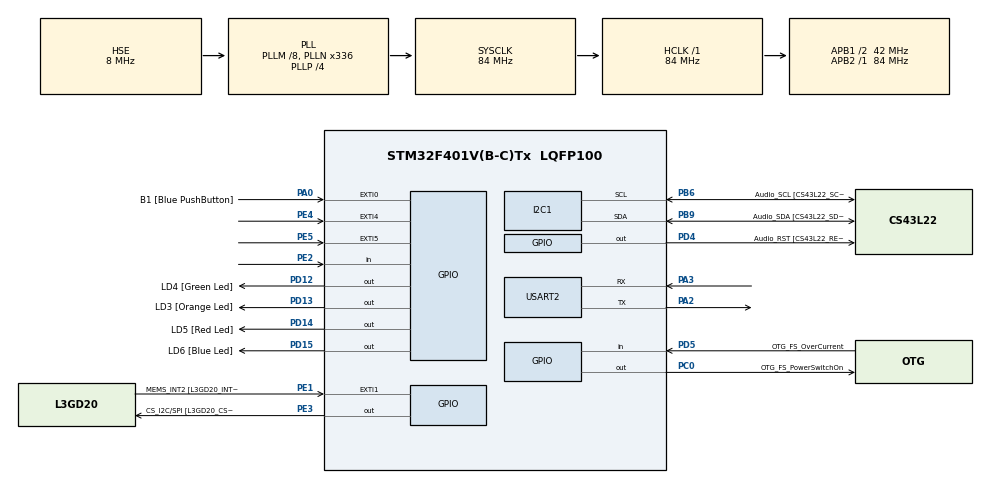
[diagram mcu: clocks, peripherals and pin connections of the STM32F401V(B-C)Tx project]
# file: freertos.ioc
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FREERTOS.Tasks01=defaultTask,24,128,StartDefaultTask,Default,NULL,Dynamic,NULL,NULL
FREERTOS.configUSE_NEWLIB_REENTRANT=1
Mcu.Family=STM32F4
Mcu.Name=STM32F401V(B-C)Tx
Mcu.Package=LQFP100
NVIC.EXTI0_IRQn=true\:5\:0\:false\:false\:true\:true\:true\:true\:true
NVIC.PriorityGroup=NVIC_PRIORITYGROUP_4
NVIC.TIM3_IRQn=true\:0\:0\:false\:false\:true\:false\:false\:true\:true
NVIC.TimeBase=TIM3_IRQn
NVIC.TimeBaseIP=TIM3
NVIC.USART2_IRQn=true\:5\:0\:false\:false\:true\:true\:true\:true\:true
PA0-WKUP.GPIO_Label=B1 [Blue PushButton]
PA0-WKUP.GPIO_ModeDefaultEXTI=GPIO_MODE_IT_RISING_FALLING
PA0-WKUP.Signal=GPXTI0
PA10.GPIO_Label=OTG_FS_ID
PA10.Signal=USB_OTG_FS_ID
PA11.GPIO_Label=OTG_FS_DM
PA11.Signal=USB_OTG_FS_DM
PA12.GPIO_Label=OTG_FS_DP
PA12.Signal=USB_OTG_FS_DP
PA13.GPIO_Label=SWDIO
PA13.Mode=Serial_Wire
PA13.Signal=SYS_JTMS-SWDIO
PA14.GPIO_Label=SWCLK
PA14.Mode=Serial_Wire
PA14.Signal=SYS_JTCK-SWCLK
PA2.Mode=Asynchronous
PA2.Signal=USART2_TX
PA3.Mode=Asynchronous
PA3.Signal=USART2_RX
PA4.GPIO_Label=I2S3_WS [CS43L22_LRCK]
PA4.GPIO_Mode=GPIO_MODE_AF_PP
PA4.GPIO_PuPd=GPIO_NOPULL
PA4.GPIO_Speed=GPIO_SPEED_FREQ_LOW
PA4.Signal=I2S3_WS
PA5.GPIO_Label=SPI1_SCK [L3GD20_SC/SPC]
PA5.Signal=SPI1_SCK
PA6.GPIO_Label=SPI1_MISO [L3GD20_AS0/SDO]
PA6.Signal=SPI1_MISO
PA7.GPIO_Label=SPI1_MISO [L3GD20_SDA/SDI/SDO]
PA7.Signal=SPI1_MOSI
PA9.GPIO_Label=VBUS_FS
PA9.Signal=USB_OTG_FS_VBUS
PB10.GPIO_Label=CLK_IN [MP45DT02_CLK]
PB10.Signal=I2S2_CK
PB12.Signal=I2S2_WS
PB3.GPIO_Label=SWO
PB3.Signal=SYS_JTDO-SWO
PB6.GPIO_Label=Audio_SCL [CS43L22_SCL]
PB6.GPIO_Mode=GPIO_MODE_AF_OD
PB6.GPIO_Pu=GPIO_PULLUP
PB6.GPIO_PuPd=GPIO_NOPULL
PB6.GPIO_Speed=GPIO_SPEED_FREQ_LOW
PB6.Mode=I2C
PB6.Signal=I2C1_SCL
PB9.GPIO_Label=Audio_SDA [CS43L22_SDA]
PB9.GPIO_Mode=GPIO_MODE_AF_OD
PB9.GPIO_Pu=GPIO_PULLUP
PB9.GPIO_PuPd=GPIO_NOPULL
PB9.GPIO_Speed=GPIO_SPEED_FREQ_LOW
PB9.Mode=I2C
PB9.Signal=I2C1_SDA
PC0.GPIO_Label=OTG_FS_PowerSwitchOn
PC0.PinState=GPIO_PIN_SET
PC0.Signal=GPIO_Output
PC10.GPIO_Label=I2S3_SCK [CS43L22_SCLK]
PC10.GPIO_Mode=GPIO_MODE_AF_PP
PC10.GPIO_PuPd=GPIO_NOPULL
PC10.GPIO_Speed=GPIO_SPEED_FREQ_LOW
PC10.Signal=I2S3_CK
PC12.GPIO_Label=I2S3_SD [CS43L22_SDIN]
PC12.GPIO_Mode=GPIO_MODE_AF_PP
PC12.GPIO_PuPd=GPIO_NOPULL
PC12.GPIO_Speed=GPIO_SPEED_FREQ_LOW
PC12.Signal=I2S3_SD
PC14-OSC32_IN.GPIO_Label=PC14-OSC32_IN
PC14-OSC32_IN.Mode=LSE-External-Oscillator
PC14-OSC32_IN.Signal=RCC_OSC32_IN
PC15-OSC32_OUT.GPIO_Label=PC15-OSC32_OUT
PC15-OSC32_OUT.Mode=LSE-External-Oscillator
PC15-OSC32_OUT.Signal=RCC_OSC32_OUT
PC3.GPIO_Label=PDM_OUT [MP45DT02_DOUT]
PC3.Signal=I2S2_SD
PC7.GPIO_Label=I2S3_MCK [CS43L22_MCLK]
PC7.GPIO_Mode=GPIO_MODE_AF_PP
PC7.GPIO_PuPd=GPIO_NOPULL
PC7.GPIO_Speed=GPIO_SPEED_FREQ_LOW
PC7.Signal=I2S3_MCK
PD12.GPIO_Label=LD4 [Green Led]
PD12.GPIO_PuPd=GPIO_NOPULL
PD12.GPIO_Speed=GPIO_SPEED_FREQ_LOW
PD12.Signal=GPIO_Output
PD13.GPIO_Label=LD3 [Orange Led]
PD13.GPIO_PuPd=GPIO_NOPULL
PD13.GPIO_Speed=GPIO_SPEED_FREQ_LOW
PD13.Signal=GPIO_Output
PD14.GPIO_Label=LD5 [Red Led]
PD14.GPIO_PuPd=GPIO_NOPULL
PD14.GPIO_Speed=GPIO_SPEED_FREQ_LOW
PD14.Signal=GPIO_Output
PD15.GPIO_Label=LD6 [Blue Led]
PD15.GPIO_PuPd=GPIO_NOPULL
PD15.GPIO_Speed=GPIO_SPEED_FREQ_LOW
PD15.Signal=GPIO_Output
PD4.GPIO_Label=Audio_RST [CS43L22_RESET]
PD4.Signal=GPIO_Output
PD5.GPIO_Label=OTG_FS_OverCurrent
PD5.Signal=GPIO_Input
PE1.GPIO_Label=MEMS_INT2 [L3GD20_INT2]
PE1.GPIO_ModeDefaultEXTI=GPIO_MODE_EVT_RISING
PE1.Signal=GPXTI1
PE2.Signal=GPIO_Input
PE3.GPIO_Label=CS_I2C/SPI [L3GD20_CS_I2C/SPI]
PE3.Signal=GPIO_Output
PE4.GPIO_ModeDefaultEXTI=GPIO_MODE_EVT_RISING
PE4.Signal=GPXTI4
PE5.GPIO_ModeDefaultEXTI=GPIO_MODE_EVT_RISING
PE5.Signal=GPXTI5
PH0\ -\ OSC_IN.GPIO_Label=PH0-OSC_IN
PH0\ -\ OSC_IN.Mode=HSE-External-Oscillator
PH0\ -\ OSC_IN.Signal=RCC_OSC_IN
PH1\ -\ OSC_OUT.GPIO_Label=PH1-OSC_OUT
PH1\ -\ OSC_OUT.Mode=HSE-External-Oscillator
PH1\ -\ OSC_OUT.Signal=RCC_OSC_OUT
ProjectManager.HeapSize=0x200
ProjectManager.StackSize=0x400
ProjectManager.TargetToolchain=STM32CubeIDE
RCC.AHBFreq_Value=84000000
RCC.APB1CLKDivider=RCC_HCLK_DIV2
RCC.APB1Freq_Value=42000000
RCC.APB1TimFreq_Value=84000000
RCC.APB2Freq_Value=84000000
RCC.APB2TimFreq_Value=84000000
RCC.CortexFreq_Value=84000000
RCC.HCLKFreq_Value=84000000
RCC.HSE_VALUE=8000000
RCC.HSI_VALUE=16000000
RCC.PLLM=8
RCC.PLLN=336
RCC.PLLP=RCC_PLLP_DIV4
RCC.PLLQ=7
RCC.PLLSourceVirtual=RCC_PLLSOURCE_HSE
RCC.SYSCLKFreq_VALUE=84000000
RCC.SYSCLKSource=RCC_SYSCLKSOURCE_PLLCLK
RCC.VCOOutputFreq_Value=336000000
STMicroelectronics.FP-SNS-STAIOTCFT.1.0.0.MathOoLibCcCMSISJjDSPJjInclude=true
STMicroelectronics.FP-SNS-STAIOTCFT.1.0.0.MathOoLibCcCMSISJjDSPJjLib=true
USART2.VirtualMode=VM_ASYNC
VP_FREERTOS_VS_CMSIS_V2.Mode=CMSIS_V2
VP_STMicroelectronics.FP-SNS-STAIOTCFT_VS_CMSISJjMathOoLib_1.0.0_1.0.0.Mode=CMSISJjMathOoLib
VP_SYS_VS_tim3.Mode=TIM3
board=STM32F401C-DISCO

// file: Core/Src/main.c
/* USER CODE BEGIN Header */
/**
  ******************************************************************************
  * @file           : main.c
  * @brief          : Main program body (minimal, cleaned)
  ******************************************************************************
  * @attention
  * Copyright (c) 2025 STMicroelectronics.
  * All rights reserved.
  * This software is licensed AS-IS.
  ******************************************************************************
  */
/* USER CODE END Header */
#include "main.h"
#include "cmsis_os.h"

/* USER CODE BEGIN Includes */
#include <stdio.h>
#include <string.h>
#include <stdbool.h>
#include <math.h>
#include "lsm303dlhc_acc.h"
#include "cmsis_os2.h"
#include "arm_math.h"   // CMSIS-DSP
#include <stdlib.h>     // atoi, strtof
#ifndef M_PI
#define M_PI 3.14159265358979323846f
#endif

/* USER CODE END Includes */

/* USER CODE BEGIN PTD */
typedef enum { STATE_IDLE = 0, STATE_ACTIVE = 1 } run_state_t;

typedef enum { BTN_EV_DOWN = 0, BTN_EV_UP = 1 } btn_ev_t;
typedef struct { btn_ev_t ev; uint32_t t_ms; } btn_msg_t;

typedef struct {
  char topic[64];
  char payload[256];
} pub_req_t;
/* USER CODE END PTD */

/* USER CODE BEGIN PD */
// --- Behavior when STATE == IDLE ---
#define COUNT_STEPS_WHEN_IDLE   0   // don't count steps in IDLE
#define ACCUMULATE_WHEN_IDLE    0   // don't add distance/kcal in IDLE

#define MIN_PEAK_ABS  0.10f   // ~0.10 g band-passed abs minimum

// Button timings (ms)
#define BTN_DEBOUNCE_MS      150u
#define BTN_LONG_MS         2000u
#define SNAPSHOT_MIN_SPAN    200u

// Step detector tuning (50 Hz)
#define ACC_ALPHA           0.90f
#define TH_HIGH_G           0.35f
#define TH_LOW_G            0.15f

// Defaults (can be switched later to remote-config values)
#define STRIDE_LENGTH_M     0.75f
#define KCAL_PER_STEP       0.05f

/* USER CODE END PD */

I2C_HandleTypeDef hi2c1;

UART_HandleTypeDef huart2;

/* USER CODE BEGIN PV */
// RTOS objects
static osMessageQueueId_t qPub;
static osMessageQueueId_t qBtn;
static osSemaphoreId_t    semUart;  // UART TX lock

// App state
static volatile run_state_t g_state = STATE_IDLE;

static volatile uint32_t step_count = 0;
static volatile float    distance_m = 0.0f;
static volatile float    cal_kcal   = 0.0f;

// Button helpers
static volatile uint32_t g_btn_last_edge = 0;
static volatile uint8_t  g_btn_down_seen = 0;

// Step detector internals
static float    g_est = 1.0f;
static uint32_t last_step_ms = 0;

// ---- user-configurable params (defaults) ----
static volatile uint16_t g_height_cm = 170;    // default
static volatile uint16_t g_mass_kg   = 70;     // default
static volatile float    g_stride_m  = 0.75f;  // will be overridden/derived
static volatile uint8_t  g_stride_user_set = 0; // 0=derive from height

static volatile float    g_kcal_per_step = 0.05f;

// UART RX line collector (for CFG key=value coming from ESP32)
static uint8_t  rx_ch;
static char     rx_line[128];
static size_t   rx_len = 0;

// ===== DSP config (50 Hz sampling) =====
#define FS_HZ          50.0f
#define DT_SEC         (1.0f/FS_HZ)

// 0.5–3.0 Hz band using HPF(0.5Hz, Q=0.707) then LPF(3.0Hz, Q=0.707)
#define HPF_FC_HZ      0.50f
#define HPF_Q          0.707f
#define LPF_FC_HZ      3.00f
#define LPF_Q          0.707f

// Envelope and thresholds
#define ENV_ALPHA      0.98f
#define K_TH_HI        1.50f     // was 1.20f
#define K_TH_LO        0.55f      // was 0.50f
#define REFRACT_MS     420u      // was 300u

// Cadence/speed smoothing
#define CAD_EWMA       0.20f
#define SPD_EWMA       0.10f

// Envelope & kinematics
static float     env_abs = 0.05f;
static uint8_t   bp_armed = 0;
static uint32_t  last_step_ms_dsp = 0;

static volatile float cadence_spm = 0.0f;  // smoothed cadence (steps/min)
static volatile float speed_mps   = 0.0f;  // smoothed speed (m/s)
// Peak detection helpers (to avoid multiple counts per step)
static float   prev_y_bp  = 0.0f;
static uint8_t was_rising = 0;

// --- Simple filter state (bypassing CMSIS biquads for debug/robustness) ---
//static float mag_base = 1.0f;   // EMA baseline of |acc| ~ gravity
//static float y_lp     = 0.0f;   // one-pole LPF output

// Pre-tuned EMA gains for fs=50 Hz
#define HPF_ALPHA   0.061f   // ~0.5 Hz baseline tracker
#define LPF_ALPHA   0.314f   // ~3.0 Hz smoothing

// --- CMSIS-DSP filter state ---
static arm_biquad_casd_df1_inst_f32 iir_hpf;
static arm_biquad_casd_df1_inst_f32 iir_lpf;

// One stage each (2nd-order); CMSIS needs 5 coeffs/stage and 4 state values/stage
static float32_t hpf_coeffs[5];
static float32_t lpf_coeffs[5];
static float32_t hpf_state[4];
static float32_t lpf_state[4];

/* USER CODE END PV */

void SystemClock_Config(void);
static void MX_GPIO_Init(void);
static void MX_I2C1_Init(void);
static void MX_USART2_UART_Init(void);
void StartDefaultTask(void *argument);

/* USER CODE BEGIN PFP */
// ===== Command-driven session helpers =====
// --- forward decls used by action_* ---
static void publish_snapshot(void);
static void publish_status(const char *state, bool include_summary);
static void dsp_init_filters(void);

static void action_start(void)
{
  if (g_state == STATE_ACTIVE) return;

  __disable_irq();
  step_count = 0;
  distance_m = 0.0f;
  cal_kcal   = 0.0f;
  g_est = 1.0f;
  last_step_ms = 0;
  // DSP state
  bp_armed         = 0;
  last_step_ms_dsp = 0;
  cadence_spm      = 0.0f;
  speed_mps        = 0.0f;
  env_abs          = 0.05f;
  __enable_irq();

  dsp_init_filters();

  g_state = STATE_ACTIVE;
  publish_status("ACTIVE", false);
}

static void action_stop(void)
{
  if (g_state == STATE_IDLE) return;
  g_state = STATE_IDLE;

  publish_status("IDLE", true);

}

static void action_snapshot(void)
{
  publish_snapshot();
}

static void cfg_recompute(void);
static void cfg_publish_applied(void);
static void handle_cfg_line(const char *line);
static void uart_rx_start_it(void);

static void handle_cmd_line(const char *line)
/* expects: "CMD <word>" where <word> is: start | stop | snapshot | snap | summary */
{
  const char *p = line;
  if (strncmp(p, "CMD ", 4) == 0) p += 4;

  char tok[24]={0};
  int i=0;
  while (*p && *p!='\r' && *p!='\n' && *p!=' ' && i<(int)sizeof(tok)-1) tok[i++]=*p++;
  tok[i]='\0';

  bool ok=false;
  if      (strcmp(tok,"start")==0)    { action_start();    ok=true; }
  else if (strcmp(tok,"stop")==0)     { action_stop();     ok=true; }
  else if (strcmp(tok,"snapshot")==0) { action_snapshot(); ok=true; }

//  // optional ACK
//  pub_req_t ack;
//  snprintf(ack.topic, sizeof(ack.topic), "suryasurya/feeds/stm32f4-01.cmd.ack");
//  snprintf(ack.payload, sizeof(ack.payload), "%s:%s", tok, ok?"ok":"unknown");
//  osMessageQueuePut(qPub, &ack, 0, 0);
}

// Tasks
static void Task_MqttPub(void *arg);
static void Task_AccelStep(void *arg);
static void Task_ButtonSM(void *arg);

// Helpers
static bool uart_send_line(const char *line);
static void publish_snapshot(void);
static void publish_status(const char *state, bool include_summary);

// Build RBJ biquad (Tustin) coefficients, normalized for CMSIS-DF1: {b0,b1,b2,a1,a2}
// type: 0=LPF, 1=HPF
static void rbj_make_biquad_lp_hp(float fs, float f0, float Q, int type,
                                  float32_t out[5])
{
  const float w0 = 2.0f * (float)M_PI * (f0 / fs);
  const float cw = arm_cos_f32(w0);
  const float sw = arm_sin_f32(w0);
  const float alpha = sw / (2.0f * Q);

  float b0,b1,b2,a0,a1,a2;

  if (type == 0) { // LPF
    b0 = (1.0f - cw) * 0.5f;
    b1 = (1.0f - cw);
    b2 = (1.0f - cw) * 0.5f;
    a0 = 1.0f + alpha;
    a1 = -2.0f * cw;
    a2 = 1.0f - alpha;
  } else {         // HPF
    b0 =  (1.0f + cw) * 0.5f;
    b1 = -(1.0f + cw);
    b2 =  (1.0f + cw) * 0.5f;
    a0 =  1.0f + alpha;
    a1 = -2.0f * cw;
    a2 =  1.0f - alpha;
  }

  // Normalize by a0; CMSIS expects feedback coeffs with NEGATED sign.
  out[0] = b0 / a0;      // b0
  out[1] = b1 / a0;      // b1
  out[2] = b2 / a0;      // b2
  out[3] = -(a1 / a0);   // a1  (NEGATED)
  out[4] = -(a2 / a0);   // a2  (NEGATED)
}

static void dsp_init_filters(void)
{
  rbj_make_biquad_lp_hp(FS_HZ, HPF_FC_HZ, HPF_Q, 1, hpf_coeffs); // HPF
  rbj_make_biquad_lp_hp(FS_HZ, LPF_FC_HZ, LPF_Q, 0, lpf_coeffs); // LPF

  memset(hpf_state, 0, sizeof(hpf_state));
  memset(lpf_state, 0, sizeof(lpf_state));

  arm_biquad_cascade_df1_init_f32(&iir_hpf, 1, hpf_coeffs, hpf_state);
  arm_biquad_cascade_df1_init_f32(&iir_lpf, 1, lpf_coeffs, lpf_state);
}

/* USER CODE END PFP */

/* USER CODE BEGIN 0 */
/*        */
static void cfg_recompute(void)
{
  float stride = g_stride_user_set ? g_stride_m
                                   : (0.414f * ((float)g_height_cm / 100.0f));
  if (stride < 0.40f) stride = 0.40f;
  if (stride > 1.20f) stride = 1.20f;
  g_stride_m = stride;

  float scale = ((float)g_mass_kg) / 70.0f;
  if (scale < 0.4f) scale = 0.4f;
  if (scale > 2.0f) scale = 2.0f;
  g_kcal_per_step = 0.05f * scale;
}

static void cfg_publish_applied(void)
{
  char line[96];
  uint32_t stride_centi = (uint32_t)(g_stride_m * 100.0f + 0.5f);
  snprintf(line, sizeof(line),
    "height=%u,mass=%u,stride=%lu.%02lu%s",
    (unsigned)g_height_cm, (unsigned)g_mass_kg,
    stride_centi/100, stride_centi%100,
    g_stride_user_set ? "" : " (derived)");

  pub_req_t req;
  snprintf(req.topic, sizeof(req.topic),
           "suryasurya/feeds/stm32f4-01.cfg-dot-applied");
  snprintf(req.payload, sizeof(req.payload), "%s", line);
  osMessageQueuePut(qPub, &req, 0, 0);
}

static void handle_cfg_line(const char *line)
{
  // expect: "CFG key=value"
  if (strncmp(line, "CFG ", 4) != 0) return;
  const char *p = line + 4;

  char key[24]={0}, val[24]={0};
  int i=0;

  while (*p && *p!='=' && i<(int)sizeof(key)-1) key[i++]=*p++;
  key[i]='\0';
  if (*p != '=') return;
  p++;

  i=0;
  while (*p && *p!='\r' && *p!='\n' && i<(int)sizeof(val)-1) val[i++]=*p++;
  val[i]='\0';

  bool ok=false;
  if (strcmp(key,"height_cm")==0) {
    int v = atoi(val);
    if (v>=120 && v<=210) { g_height_cm=(uint16_t)v; ok=true; }
  } else if (strcmp(key,"mass_kg")==0) {
    int v = atoi(val);
    if (v>=30 && v<=160) { g_mass_kg=(uint16_t)v; ok=true; }
  } else if (strcmp(key,"stride_m")==0) {
    float f = strtof(val, NULL);
    if (f>=0.40f && f<=1.20f) { g_stride_m=f; g_stride_user_set=1; ok=true; }
  }

  if (ok) {
    __disable_irq(); cfg_recompute(); __enable_irq();
    cfg_publish_applied();
  } else {
    // optional rejection message
    pub_req_t req;
    snprintf(req.topic, sizeof(req.topic),
             "suryasurya/feeds/stm32f4-01.cfg-dot-applied");
    snprintf(req.payload, sizeof(req.payload),
             "rejected %s=%s", key, val);
    osMessageQueuePut(qPub, &req, 0, 0);
  }
}

// ---- UART RX interrupt line collector (USART2 from ESP32) ----
static void uart_rx_start_it(void)
{
  HAL_UART_Receive_IT(&huart2, &rx_ch, 1);
}

// HAL callback called on each received byte (IRQ context)
void HAL_UART_RxCpltCallback(UART_HandleTypeDef *huart)
{
  if (huart->Instance == USART2) {
    char c = (char)rx_ch;
    if (c == '\r') {
      // ignore
    } else if (c == '\n') {
    	// terminate and process
    	if (rx_len < sizeof(rx_line)) rx_line[rx_len] = '\0';
    	if (rx_len > 0) {
    	  if (strncmp(rx_line, "CFG ", 4) == 0) {
    	    handle_cfg_line(rx_line);
    	  } else if (strncmp(rx_line, "CMD ", 4) == 0) {
    	    handle_cmd_line(rx_line);
    	  }
    	}
    	rx_len = 0;

    } else {
      if (rx_len < sizeof(rx_line)-1) {
        rx_line[rx_len++] = c;
      } else {
        // overflow -> reset
        rx_len = 0;
      }
    }
    // re-arm
    HAL_UART_Receive_IT(&huart2, &rx_ch, 1);
  }
}
/*       */

// UART helper: send a full line to ESP32 ("PUB <topic> <payload>\n")
static bool uart_send_line(const char *line)
{
  if (osSemaphoreAcquire(semUart, 200) != osOK) return false;
  HAL_StatusTypeDef st = HAL_UART_Transmit(&huart2, (uint8_t*)line, (uint16_t)strlen(line), 200);
  osSemaphoreRelease(semUart);
  return (st == HAL_OK);
}

static void publish_snapshot(void)
{
  uint32_t steps; float dist, kcal;
  __disable_irq();
  steps = step_count; dist = distance_m; kcal = cal_kcal;
  __enable_irq();

  pub_req_t req;

  // steps
  snprintf(req.topic, sizeof(req.topic), "suryasurya/feeds/stm32f4-01.steps");
  snprintf(req.payload, sizeof(req.payload), "%lu", (unsigned long)steps);
  osMessageQueuePut(qPub, &req, 0, 0);

  // distance (2dp without float printf dependency)
  uint32_t dist_centi = (uint32_t)(dist * 100.0f + 0.5f);
  snprintf(req.topic, sizeof(req.topic), "suryasurya/feeds/stm32f4-01.distance");
  snprintf(req.payload, sizeof(req.payload), "%lu.%02lu", dist_centi/100, dist_centi%100);
  osMessageQueuePut(qPub, &req, 0, 0);

  // calories (2dp)
  uint32_t kcal_centi = (uint32_t)(kcal * 100.0f + 0.5f);
  snprintf(req.topic, sizeof(req.topic), "suryasurya/feeds/stm32f4-01.calories");
  snprintf(req.payload, sizeof(req.payload), "%lu.%02lu", kcal_centi/100, kcal_centi%100);
  osMessageQueuePut(qPub, &req, 0, 0);
}

static void publish_status(const char *state, bool include_summary)
{
  pub_req_t req;
  snprintf(req.topic, sizeof(req.topic), "suryasurya/feeds/stm32f4-01.state");
  snprintf(req.payload, sizeof(req.payload), "%s", state);
  osMessageQueuePut(qPub, &req, 0, 0);

  if (include_summary) publish_snapshot();
}
/* USER CODE END 0 */

int main(void)
{

  /* MCU Configuration--------------------------------------------------------*/

  /* Reset of all peripherals, Initializes the Flash interface and the Systick. */
  HAL_Init();

  /* Configure the system clock */
  SystemClock_Config();

  /* Initialize all configured peripherals */
  MX_GPIO_Init();
  MX_I2C1_Init();
  MX_USART2_UART_Init();
  /* USER CODE BEGIN 2 */
  dsp_init_filters();

  cfg_recompute();          // compute stride & kcal from defaults on boot
  uart_rx_start_it();       // begin receiving CFG lines from ESP32

  /* USER CODE END 2 */

  /* Init scheduler */
  osKernelInitialize();

  /* USER CODE BEGIN RTOS_SEMAPHORES */
  semUart = osSemaphoreNew(1, 1, NULL);
  /* USER CODE END RTOS_SEMAPHORES */

  /* USER CODE BEGIN RTOS_QUEUES */
  qPub = osMessageQueueNew(8, sizeof(pub_req_t), NULL);
  qBtn = osMessageQueueNew(8, sizeof(btn_msg_t), NULL);
  /* USER CODE END RTOS_QUEUES */

  /* Create the thread(s) */
  /* creation of defaultTask */

  /* USER CODE BEGIN RTOS_THREADS */
  const osThreadAttr_t acc_attr = { .name="ACC",  .priority=osPriorityAboveNormal, .stack_size=512*4 };
  const osThreadAttr_t btn_attr = { .name="BTN",  .priority=osPriorityLow,         .stack_size=256*4 };
  const osThreadAttr_t pub_attr = { .name="MQTT", .priority=osPriorityNormal,      .stack_size=512*4 };

  (void)osThreadNew(Task_AccelStep, NULL, &acc_attr);
  (void)osThreadNew(Task_ButtonSM,  NULL, &btn_attr);
  (void)osThreadNew(Task_MqttPub,   NULL, &pub_attr);
  /* USER CODE END RTOS_THREADS */

  /* Start scheduler */
  osKernelStart();

  /* We should never get here as control is now taken by the scheduler */

  /* Infinite loop */
  while (1)
  {

  }
}

void SystemClock_Config(void)
{
  RCC_OscInitTypeDef RCC_OscInitStruct = {0};
  RCC_ClkInitTypeDef RCC_ClkInitStruct = {0};

  /** Configure the main internal regulator output voltage
  */
  __HAL_RCC_PWR_CLK_ENABLE();
  __HAL_PWR_VOLTAGESCALING_CONFIG(PWR_REGULATOR_VOLTAGE_SCALE2);

  /** Initializes the RCC Oscillators according to the specified parameters
  * in the RCC_OscInitTypeDef structure.
  */
  RCC_OscInitStruct.OscillatorType = RCC_OSCILLATORTYPE_HSE;
  RCC_OscInitStruct.HSEState = RCC_HSE_ON;
  RCC_OscInitStruct.PLL.PLLState = RCC_PLL_ON;
  RCC_OscInitStruct.PLL.PLLSource = RCC_PLLSOURCE_HSE;
  RCC_OscInitStruct.PLL.PLLM = 8;
  RCC_OscInitStruct.PLL.PLLN = 336;
  RCC_OscInitStruct.PLL.PLLP = RCC_PLLP_DIV4;
  RCC_OscInitStruct.PLL.PLLQ = 7;
  if (HAL_RCC_OscConfig(&RCC_OscInitStruct) != HAL_OK)
  {
    Error_Handler();
  }

  /** Initializes the CPU, AHB and APB buses clocks
  */
  RCC_ClkInitStruct.ClockType = RCC_CLOCKTYPE_HCLK|RCC_CLOCKTYPE_SYSCLK
                              |RCC_CLOCKTYPE_PCLK1|RCC_CLOCKTYPE_PCLK2;
  RCC_ClkInitStruct.SYSCLKSource = RCC_SYSCLKSOURCE_PLLCLK;
  RCC_ClkInitStruct.AHBCLKDivider = RCC_SYSCLK_DIV1;
  RCC_ClkInitStruct.APB1CLKDivider = RCC_HCLK_DIV2;
  RCC_ClkInitStruct.APB2CLKDivider = RCC_HCLK_DIV1;

  if (HAL_RCC_ClockConfig(&RCC_ClkInitStruct, FLASH_LATENCY_2) != HAL_OK)
  {
    Error_Handler();
  }
}

static void MX_I2C1_Init(void)
{

  hi2c1.Instance = I2C1;
  hi2c1.Init.ClockSpeed = 100000;
  hi2c1.Init.DutyCycle = I2C_DUTYCYCLE_2;
  hi2c1.Init.OwnAddress1 = 0;
  hi2c1.Init.AddressingMode = I2C_ADDRESSINGMODE_7BIT;
  hi2c1.Init.DualAddressMode = I2C_DUALADDRESS_DISABLE;
  hi2c1.Init.OwnAddress2 = 0;
  hi2c1.Init.GeneralCallMode = I2C_GENERALCALL_DISABLE;
  hi2c1.Init.NoStretchMode = I2C_NOSTRETCH_DISABLE;
  if (HAL_I2C_Init(&hi2c1) != HAL_OK)
  {
    Error_Handler();
  }

}

static void MX_USART2_UART_Init(void)
{

  huart2.Instance = USART2;
  huart2.Init.BaudRate = 115200;
  huart2.Init.WordLength = UART_WORDLENGTH_8B;
  huart2.Init.StopBits = UART_STOPBITS_1;
  huart2.Init.Parity = UART_PARITY_NONE;
  huart2.Init.Mode = UART_MODE_TX_RX;
  huart2.Init.HwFlowCtl = UART_HWCONTROL_NONE;
  huart2.Init.OverSampling = UART_OVERSAMPLING_16;
  if (HAL_UART_Init(&huart2) != HAL_OK)
  {
    Error_Handler();
  }

}

static void MX_GPIO_Init(void)
{
  GPIO_InitTypeDef GPIO_InitStruct = {0};

  /* GPIO Ports Clock Enable */
  __HAL_RCC_GPIOE_CLK_ENABLE();
  __HAL_RCC_GPIOC_CLK_ENABLE();
  __HAL_RCC_GPIOH_CLK_ENABLE();
  __HAL_RCC_GPIOA_CLK_ENABLE();
  __HAL_RCC_GPIOB_CLK_ENABLE();
  __HAL_RCC_GPIOD_CLK_ENABLE();

  /*Configure GPIO pin Output Level */
  HAL_GPIO_WritePin(CS_I2C_SPI_GPIO_Port, CS_I2C_SPI_Pin, GPIO_PIN_RESET);

  /*Configure GPIO pin Output Level */
  HAL_GPIO_WritePin(OTG_FS_PowerSwitchOn_GPIO_Port, OTG_FS_PowerSwitchOn_Pin, GPIO_PIN_SET);

  /*Configure GPIO pin Output Level */
  HAL_GPIO_WritePin(GPIOD, LD4_Pin|LD3_Pin|LD5_Pin|LD6_Pin
                          |Audio_RST_Pin, GPIO_PIN_RESET);

  /*Configure GPIO pin : PE2 */
  GPIO_InitStruct.Pin = GPIO_PIN_2;
  GPIO_InitStruct.Mode = GPIO_MODE_INPUT;
  GPIO_InitStruct.Pull = GPIO_NOPULL;
  HAL_GPIO_Init(GPIOE, &GPIO_InitStruct);

  /*Configure GPIO pin : CS_I2C_SPI_Pin */
  GPIO_InitStruct.Pin = CS_I2C_SPI_Pin;
  GPIO_InitStruct.Mode = GPIO_MODE_OUTPUT_PP;
  GPIO_InitStruct.Pull = GPIO_NOPULL;
  GPIO_InitStruct.Speed = GPIO_SPEED_FREQ_LOW;
  HAL_GPIO_Init(CS_I2C_SPI_GPIO_Port, &GPIO_InitStruct);

  /*Configure GPIO pins : PE4 PE5 MEMS_INT2_Pin */
  GPIO_InitStruct.Pin = GPIO_PIN_4|GPIO_PIN_5|MEMS_INT2_Pin;
  GPIO_InitStruct.Mode = GPIO_MODE_EVT_RISING;
  GPIO_InitStruct.Pull = GPIO_NOPULL;
  HAL_GPIO_Init(GPIOE, &GPIO_InitStruct);

  /*Configure GPIO pin : OTG_FS_PowerSwitchOn_Pin */
  GPIO_InitStruct.Pin = OTG_FS_PowerSwitchOn_Pin;
  GPIO_InitStruct.Mode = GPIO_MODE_OUTPUT_PP;
  GPIO_InitStruct.Pull = GPIO_NOPULL;
  GPIO_InitStruct.Speed = GPIO_SPEED_FREQ_LOW;
  HAL_GPIO_Init(OTG_FS_PowerSwitchOn_GPIO_Port, &GPIO_InitStruct);

  /*Configure GPIO pin : PDM_OUT_Pin */
  GPIO_InitStruct.Pin = PDM_OUT_Pin;
  GPIO_InitStruct.Mode = GPIO_MODE_AF_PP;
  GPIO_InitStruct.Pull = GPIO_NOPULL;
  GPIO_InitStruct.Speed = GPIO_SPEED_FREQ_LOW;
  GPIO_InitStruct.Alternate = GPIO_AF5_SPI2;
  HAL_GPIO_Init(PDM_OUT_GPIO_Port, &GPIO_InitStruct);

  /*Configure GPIO pin : B1_Pin */
  GPIO_InitStruct.Pin = B1_Pin;
  GPIO_InitStruct.Mode = GPIO_MODE_IT_RISING_FALLING;
  GPIO_InitStruct.Pull = GPIO_NOPULL;
  HAL_GPIO_Init(B1_GPIO_Port, &GPIO_InitStruct);

  /*Configure GPIO pin : I2S3_WS_Pin */
  GPIO_InitStruct.Pin = I2S3_WS_Pin;
  GPIO_InitStruct.Mode = GPIO_MODE_AF_PP;
  GPIO_InitStruct.Pull = GPIO_NOPULL;
  GPIO_InitStruct.Speed = GPIO_SPEED_FREQ_LOW;
  GPIO_InitStruct.Alternate = GPIO_AF6_SPI3;
  HAL_GPIO_Init(I2S3_WS_GPIO_Port, &GPIO_InitStruct);

  /*Configure GPIO pins : SPI1_SCK_Pin SPI1_MISO_Pin SPI1_MISOA7_Pin */
  GPIO_InitStruct.Pin = SPI1_SCK_Pin|SPI1_MISO_Pin|SPI1_MISOA7_Pin;
  GPIO_InitStruct.Mode = GPIO_MODE_AF_PP;
  GPIO_InitStruct.Pull = GPIO_NOPULL;
  GPIO_InitStruct.Speed = GPIO_SPEED_FREQ_VERY_HIGH;
  GPIO_InitStruct.Alternate = GPIO_AF5_SPI1;
  HAL_GPIO_Init(GPIOA, &GPIO_InitStruct);

  /*Configure GPIO pins : CLK_IN_Pin PB12 */
  GPIO_InitStruct.Pin = CLK_IN_Pin|GPIO_PIN_12;
  GPIO_InitStruct.Mode = GPIO_MODE_AF_PP;
  GPIO_InitStruct.Pull = GPIO_NOPULL;
  GPIO_InitStruct.Speed = GPIO_SPEED_FREQ_LOW;
  GPIO_InitStruct.Alternate = GPIO_AF5_SPI2;
  HAL_GPIO_Init(GPIOB, &GPIO_InitStruct);

  /*Configure GPIO pins : LD4_Pin LD3_Pin LD5_Pin LD6_Pin
                           Audio_RST_Pin */
  GPIO_InitStruct.Pin = LD4_Pin|LD3_Pin|LD5_Pin|LD6_Pin
                          |Audio_RST_Pin;
  GPIO_InitStruct.Mode = GPIO_MODE_OUTPUT_PP;
  GPIO_InitStruct.Pull = GPIO_NOPULL;
  GPIO_InitStruct.Speed = GPIO_SPEED_FREQ_LOW;
  HAL_GPIO_Init(GPIOD, &GPIO_InitStruct);

  /*Configure GPIO pins : I2S3_MCK_Pin I2S3_SCK_Pin I2S3_SD_Pin */
  GPIO_InitStruct.Pin = I2S3_MCK_Pin|I2S3_SCK_Pin|I2S3_SD_Pin;
  GPIO_InitStruct.Mode = GPIO_MODE_AF_PP;
  GPIO_InitStruct.Pull = GPIO_NOPULL;
  GPIO_InitStruct.Speed = GPIO_SPEED_FREQ_LOW;
  GPIO_InitStruct.Alternate = GPIO_AF6_SPI3;
  HAL_GPIO_Init(GPIOC, &GPIO_InitStruct);

  /*Configure GPIO pin : VBUS_FS_Pin */
  GPIO_InitStruct.Pin = VBUS_FS_Pin;
  GPIO_InitStruct.Mode = GPIO_MODE_INPUT;
  GPIO_InitStruct.Pull = GPIO_NOPULL;
  HAL_GPIO_Init(VBUS_FS_GPIO_Port, &GPIO_InitStruct);

  /*Configure GPIO pins : OTG_FS_ID_Pin OTG_FS_DM_Pin OTG_FS_DP_Pin */
  GPIO_InitStruct.Pin = OTG_FS_ID_Pin|OTG_FS_DM_Pin|OTG_FS_DP_Pin;
  GPIO_InitStruct.Mode = GPIO_MODE_AF_PP;
  GPIO_InitStruct.Pull = GPIO_NOPULL;
  GPIO_InitStruct.Speed = GPIO_SPEED_FREQ_VERY_HIGH;
  GPIO_InitStruct.Alternate = GPIO_AF10_OTG_FS;
  HAL_GPIO_Init(GPIOA, &GPIO_InitStruct);

  /*Configure GPIO pin : OTG_FS_OverCurrent_Pin */
  GPIO_InitStruct.Pin = OTG_FS_OverCurrent_Pin;
  GPIO_InitStruct.Mode = GPIO_MODE_INPUT;
  GPIO_InitStruct.Pull = GPIO_NOPULL;
  HAL_GPIO_Init(OTG_FS_OverCurrent_GPIO_Port, &GPIO_InitStruct);

  /* EXTI interrupt init*/
  HAL_NVIC_SetPriority(EXTI0_IRQn, 5, 0);
  HAL_NVIC_EnableIRQ(EXTI0_IRQn);

}

/* USER CODE BEGIN 4 */
// Called on button press (PA0 EXTI)
void HAL_GPIO_EXTI_Callback(uint16_t GPIO_Pin)
{
  if (GPIO_Pin != GPIO_PIN_0) return;

  uint32_t now = HAL_GetTick();
  if ((now - g_btn_last_edge) < BTN_DEBOUNCE_MS) return; // debounce
  g_btn_last_edge = now;

  // Read pin level to know DOWN/UP (adjust if pull-up)
  GPIO_PinState level = HAL_GPIO_ReadPin(GPIOA, GPIO_PIN_0);
  btn_msg_t msg;

  if (level == GPIO_PIN_SET) {             // button DOWN
    msg.ev = BTN_EV_DOWN;
    msg.t_ms = now;
    g_btn_down_seen = 1;
    (void)osMessageQueuePut(qBtn, &msg, 0, 0);
  } else {                                 // button UP
    if (!g_btn_down_seen) return;          // ignore stray release
    msg.ev = BTN_EV_UP;
    msg.t_ms = now;
    g_btn_down_seen = 0;
    (void)osMessageQueuePut(qBtn, &msg, 0, 0);
  }
}

/* ================== TASK: MQTT Publisher ================== */
void Task_MqttPub(void *arg)
{
  (void)arg;
  pub_req_t req;
  char line[256];

  for(;;){
    if (osMessageQueueGet(qPub, &req, NULL, osWaitForever) != osOK) continue;
    // Bridge protocol to ESP32: "PUB <topic> <payload>\n"
    (void)snprintf(line, sizeof(line), "PUB %s %s\n", req.topic, req.payload);
    (void)uart_send_line(line);
  }
}

/* ================== TASK: Button State Machine ================== */
void Task_ButtonSM(void *arg)
{
  (void)arg;
  btn_msg_t msg;
  uint32_t last_down = 0;
  uint32_t last_snapshot_ms = 0;

  for(;;){
    if (osMessageQueueGet(qBtn, &msg, NULL, osWaitForever) != osOK) continue;

    if (msg.ev == BTN_EV_DOWN) {
      last_down = msg.t_ms;
      continue;
    }

    if (msg.ev == BTN_EV_UP) {
      if (last_down == 0) continue; // stray
      uint32_t press_ms = msg.t_ms - last_down;
      last_down = 0;

      if (press_ms >= BTN_LONG_MS) {
        if (g_state == STATE_IDLE) {
          // ===== IDLE -> ACTIVE: reset counters & DSP state =====
          __disable_irq();
          step_count = 0;
          distance_m = 0.0f;
          cal_kcal   = 0.0f;
          g_est = 1.0f;
          last_step_ms = 0;

          // Reset DSP-side detector so hysteresis/refractory don't carry over
          bp_armed         = 0;        // global
          last_step_ms_dsp = 0;        // global
          cadence_spm      = 0.0f;     // global
          speed_mps        = 0.0f;     // global
          env_abs          = 0.05f;    // global
          __enable_irq();

          dsp_init_filters();

          g_state = STATE_ACTIVE;
          publish_status("ACTIVE", false);  // start fresh
        } else {
          // ===== ACTIVE -> IDLE: keep totals; just stop counting =====
          g_state = STATE_IDLE;
          publish_status("IDLE", true);     // optional final snapshot
          // (Do NOT clear step_count/distance/cal_kcal here)
        }
      }
else {
        // SHORT PRESS: snapshot (rate limited)
        uint32_t now = HAL_GetTick();
        if ((now - last_snapshot_ms) >= SNAPSHOT_MIN_SPAN) {
          last_snapshot_ms = now;
          publish_snapshot();
        }
      }
    }
  }
}

/* ================== TASK: Accel Step Detector ================== */
void Task_AccelStep(void *arg)
{
  (void)arg;

  while (!lsm303_acc_init_50hz()) { osDelay(500); }

  uint32_t start_ms = HAL_GetTick();
  uint32_t last_step_t = 0;

  for (;;)
  {
    osDelay(20); // 50 Hz

    // === 1) sample ===
    float ax_mg, ay_mg, az_mg;
    if (!lsm303_acc_read_mg(&ax_mg, &ay_mg, &az_mg)) continue;
    float ax = ax_mg * 0.001f;
    float ay = ay_mg * 0.001f;
    float az = az_mg * 0.001f;

    // magnitude
    float mag = sqrtf(ax*ax + ay*ay + az*az);

    float y1, y_bp;
    arm_biquad_cascade_df1_f32(&iir_hpf, &mag, &y1,  1); // HPF -> y1
    arm_biquad_cascade_df1_f32(&iir_lpf, &y1,  &y_bp,1); // LPF -> y_bp

    // === Envelope from band-passed signal ===
    float ay_bp = fabsf(y_bp);
    env_abs = ENV_ALPHA * env_abs + (1.0f - ENV_ALPHA) * ay_bp;
    if (env_abs < 0.01f) env_abs = 0.01f;   // was 0.02f

    // === Peak-direction logic (count on local maxima only) ===
    float dy           = y_bp - prev_y_bp;
    uint8_t rising_now = (dy > 0.0f);
    uint8_t was_rising_prev = was_rising;   // <-- snapshot previous state

    uint32_t now = HAL_GetTick();
    if ((now - start_ms) < 800u) {
      // settle: update state then continue
      was_rising = rising_now;
      prev_y_bp  = y_bp;
      continue;
    }

    // What we are allowed to update in this tick
//    bool count_ok = (g_state == STATE_ACTIVE) || (COUNT_STEPS_WHEN_IDLE != 0);
    bool accum_ok = (g_state == STATE_ACTIVE) || (ACCUMULATE_WHEN_IDLE != 0);

    // Idle decay (keep processing even in IDLE)
    if (g_state != STATE_ACTIVE) {
      cadence_spm *= 0.98f;
      speed_mps   *= 0.98f;
    }

    // === 4) adaptive thresholds + hysteresis ===
    float th_hi = K_TH_HI * env_abs;
    float th_lo = K_TH_LO * env_abs;
    #define ARM_TIMEOUT_MS 1500u

    if (!bp_armed) {
      // Count only when we just turned from rising->falling (local max) and above th_hi,
      // and also respect the refractory time.
    	if (was_rising_prev && !rising_now &&
    	    (y_bp > th_hi) &&
    	    (y_bp > MIN_PEAK_ABS) &&
    	    (now - last_step_ms_dsp) > REFRACT_MS) {

        last_step_ms_dsp = now;

        uint32_t dt_ms = (last_step_t == 0) ? 0 : (now - last_step_t);
        last_step_t = now;

        __disable_irq();
        if ((g_state == STATE_ACTIVE) || (COUNT_STEPS_WHEN_IDLE != 0)) {
          step_count++;
        }
        __enable_irq();

        if (dt_ms > 200 && dt_ms < 2000) {
          float cad_inst = 60000.0f / (float)dt_ms;
          cadence_spm = cadence_spm + CAD_EWMA * (cad_inst - cadence_spm);
        }

        // dynamic stride (unchanged)
        float stride = g_stride_user_set ? g_stride_m
                                         : (0.414f * ((float)g_height_cm / 100.0f));
        if (!g_stride_user_set) {
          float gain = 1.0f + 0.30f * ((cadence_spm - 100.0f) / 100.0f);
          if (gain < 0.8f) gain = 0.8f;
          if (gain > 1.3f) gain = 1.3f;
          stride *= gain;
          if (stride < 0.40f) stride = 0.40f;
          if (stride > 1.30f) stride = 1.30f;

          if ((g_state == STATE_ACTIVE) || (ACCUMULATE_WHEN_IDLE != 0)) {
            g_stride_m = stride;
          }
        }

        if ((g_state == STATE_ACTIVE) || (ACCUMULATE_WHEN_IDLE != 0)) {
          __disable_irq();
          distance_m += g_stride_m;
          __enable_irq();
        }

        bp_armed = 1;   // wait for low crossing or timeout
      }
    } else {
    	 const float REARM_MARGIN = 0.02f;  // small absolute margin (~0.02 g)
    	  if (y_bp < (th_lo - REARM_MARGIN)) {
    	    bp_armed = 0;
    	  } else if ((now - last_step_ms_dsp) > ARM_TIMEOUT_MS) {
    	    bp_armed = 0;
      }
    }

    // === 5) speed estimate & calories (MET) ===
    float v_est = (g_stride_m * cadence_spm) / 120.0f;  // m/s
    if (v_est < 0.0f) v_est = 0.0f;
    if (v_est > 4.5f) v_est = 4.5f;
    speed_mps = speed_mps + SPD_EWMA * (v_est - speed_mps);

    float v = speed_mps;
    float MET;
    if (v <= 1.0f)       MET = 2.0f + 1.5f * (v / 1.0f);
    else if (v <= 1.8f)  MET = 3.5f + 3.0f * (v - 1.0f);
    else if (v <= 3.0f)  MET = 6.0f + 2.0f * (v - 1.8f);
    else                 MET = 9.0f + 1.5f * (v - 3.0f);

    float kcal_per_min = MET * 3.5f * (float)g_mass_kg / 200.0f;
    float kcal_tick    = (kcal_per_min / 60.0f) * DT_SEC;

    // only add calories if allowed (ACTIVE) AND actually moving (>5 steps/min)
    if (accum_ok && cadence_spm > 5.0f) {
      __disable_irq();
      cal_kcal += kcal_tick;
      __enable_irq();
    }
    // update edge state for next sample
    was_rising = rising_now;
    prev_y_bp  = y_bp;

  }

}

/* USER CODE END 4 */

void HAL_TIM_PeriodElapsedCallback(TIM_HandleTypeDef *htim)
{
  if (htim->Instance == TIM3)
  {
    HAL_IncTick();
  }
}

void Error_Handler(void)
{
  __disable_irq();
  while (1)
  {
  }
}
